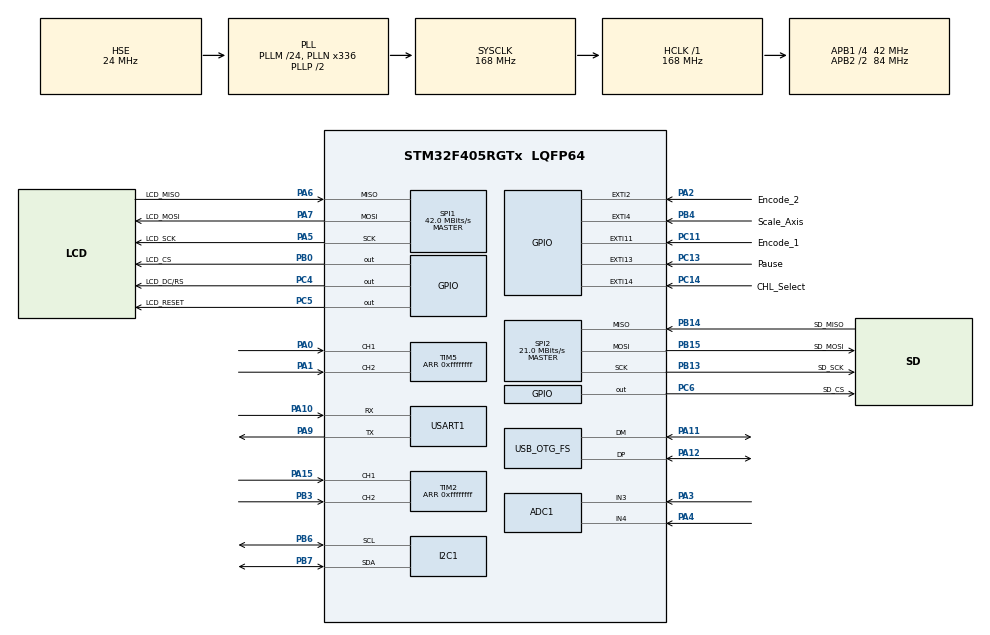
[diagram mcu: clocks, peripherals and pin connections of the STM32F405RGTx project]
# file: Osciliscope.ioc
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ADC1.Channel-13\#ChannelRegularConversion=ADC_CHANNEL_3
ADC1.Channel-14\#ChannelRegularConversion=ADC_CHANNEL_4
ADC1.ContinuousConvMode=DISABLE
ADC1.DMAContinuousRequests=ENABLE
ADC1.EnableAnalogWatchDog=true
ADC1.ExternalTrigConv=ADC_EXTERNALTRIGCONV_T3_TRGO
ADC1.HighThreshold=2048
ADC1.ITMode=ENABLE
ADC1.NbrOfConversion=2
ADC1.NbrOfConversionFlag=1
ADC1.Rank-13\#ChannelRegularConversion=1
ADC1.Rank-14\#ChannelRegularConversion=2
ADC1.SamplingTime-13\#ChannelRegularConversion=ADC_SAMPLETIME_15CYCLES
ADC1.SamplingTime-14\#ChannelRegularConversion=ADC_SAMPLETIME_15CYCLES
ADC1.ScanConvMode=ENABLE
ADC1.WatchdogChannel=ADC_CHANNEL_3
ADC1.master=1
Dma.ADC1.0.Direction=DMA_PERIPH_TO_MEMORY
Dma.ADC1.0.FIFOMode=DMA_FIFOMODE_DISABLE
Dma.ADC1.0.Instance=DMA2_Stream0
Dma.ADC1.0.MemDataAlignment=DMA_MDATAALIGN_HALFWORD
Dma.ADC1.0.MemInc=DMA_MINC_ENABLE
Dma.ADC1.0.Mode=DMA_NORMAL
Dma.ADC1.0.PeriphDataAlignment=DMA_PDATAALIGN_HALFWORD
Dma.ADC1.0.PeriphInc=DMA_PINC_DISABLE
Dma.ADC1.0.Priority=DMA_PRIORITY_LOW
Dma.Request0=ADC1
Mcu.Family=STM32F4
Mcu.Name=STM32F405RGTx
Mcu.Package=LQFP64
NVIC.DMA2_Stream0_IRQn=true\:0\:0\:false\:false\:true\:false\:true\:true
NVIC.PriorityGroup=NVIC_PRIORITYGROUP_4
PA0-WKUP.Signal=S_TIM5_CH1
PA1.Signal=S_TIM5_CH2
PA10.Mode=Asynchronous
PA10.Signal=USART1_RX
PA11.Mode=Device_Only
PA11.Signal=USB_OTG_FS_DM
PA12.Mode=Device_Only
PA12.Signal=USB_OTG_FS_DP
PA13.GPIO_Label=SWD_IO
PA13.Mode=Serial_Wire
PA13.Signal=SYS_JTMS-SWDIO
PA14.GPIO_Label=SWD_CLK
PA14.Mode=Serial_Wire
PA14.Signal=SYS_JTCK-SWCLK
PA15.Signal=S_TIM2_CH1_ETR
PA2.GPIO_Label=Encode_2
PA2.GPIO_ModeDefaultEXTI=GPIO_MODE_IT_FALLING
PA2.GPIO_PuPd=GPIO_PULLUP
PA2.Signal=GPXTI2
PA3.Signal=ADCx_IN3
PA4.Signal=ADCx_IN4
PA5.GPIO_Label=LCD_SCK
PA5.Mode=Full_Duplex_Master
PA5.Signal=SPI1_SCK
PA6.GPIO_Label=LCD_MISO
PA6.Mode=Full_Duplex_Master
PA6.Signal=SPI1_MISO
PA7.GPIO_Label=LCD_MOSI
PA7.Mode=Full_Duplex_Master
PA7.Signal=SPI1_MOSI
PA9.Mode=Asynchronous
PA9.Signal=USART1_TX
PB0.GPIO_Label=LCD_CS
PB0.Signal=GPIO_Output
PB13.GPIO_Label=SD_SCK
PB13.Mode=Full_Duplex_Master
PB13.Signal=SPI2_SCK
PB14.GPIO_Label=SD_MISO
PB14.Mode=Full_Duplex_Master
PB14.Signal=SPI2_MISO
PB15.GPIO_Label=SD_MOSI
PB15.Mode=Full_Duplex_Master
PB15.Signal=SPI2_MOSI
PB3.Signal=S_TIM2_CH2
PB4.GPIO_Label=Scale_Axis
PB4.GPIO_ModeDefaultEXTI=GPIO_MODE_IT_FALLING
PB4.GPIO_PuPd=GPIO_PULLUP
PB4.Signal=GPXTI4
PB6.Mode=I2C
PB6.Signal=I2C1_SCL
PB7.Mode=I2C
PB7.Signal=I2C1_SDA
PC11.GPIO_Label=Encode_1
PC11.GPIO_ModeDefaultEXTI=GPIO_MODE_IT_FALLING
PC11.GPIO_PuPd=GPIO_PULLUP
PC11.Signal=GPXTI11
PC13-ANTI_TAMP.GPIO_Label=Pause
PC13-ANTI_TAMP.GPIO_ModeDefaultEXTI=GPIO_MODE_IT_FALLING
PC13-ANTI_TAMP.GPIO_PuPd=GPIO_PULLUP
PC13-ANTI_TAMP.Signal=GPXTI13
PC14-OSC32_IN.GPIO_Label=CHL_Select
PC14-OSC32_IN.GPIO_ModeDefaultEXTI=GPIO_MODE_IT_FALLING
PC14-OSC32_IN.GPIO_PuPd=GPIO_PULLUP
PC14-OSC32_IN.Signal=GPXTI14
PC4.GPIO_Label=LCD_DC/RS
PC4.Signal=GPIO_Output
PC5.GPIO_Label=LCD_RESET
PC5.Signal=GPIO_Output
PC6.GPIO_Label=SD_CS
PC6.Signal=GPIO_Output
PH0-OSC_IN.Mode=HSE-External-Oscillator
PH0-OSC_IN.Signal=RCC_OSC_IN
PH1-OSC_OUT.Mode=HSE-External-Oscillator
PH1-OSC_OUT.Signal=RCC_OSC_OUT
ProjectManager.HeapSize=0x200
ProjectManager.StackSize=0x400
ProjectManager.TargetToolchain=STM32CubeIDE
RCC.48MHZClocksFreq_Value=48000000
RCC.AHBFreq_Value=168000000
RCC.APB1CLKDivider=RCC_HCLK_DIV4
RCC.APB1Freq_Value=42000000
RCC.APB1TimFreq_Value=84000000
RCC.APB2CLKDivider=RCC_HCLK_DIV2
RCC.APB2Freq_Value=84000000
RCC.APB2TimFreq_Value=168000000
RCC.CortexFreq_Value=168000000
RCC.HCLKFreq_Value=168000000
RCC.HSE_VALUE=24000000
RCC.HSI_VALUE=16000000
RCC.LSE_VALUE=32768
RCC.PLLM=24
RCC.PLLN=336
RCC.PLLQ=7
RCC.SYSCLKFreq_VALUE=168000000
RCC.SYSCLKSource=RCC_SYSCLKSOURCE_PLLCLK
RCC.VCOOutputFreq_Value=336000000
SH.ADCx_IN3.0=ADC1_IN3,IN3
SH.ADCx_IN4.0=ADC1_IN4,IN4
SH.S_TIM2_CH1_ETR.0=TIM2_CH1,Encoder_Interface
SH.S_TIM2_CH2.0=TIM2_CH2,Encoder_Interface
SH.S_TIM5_CH1.0=TIM5_CH1,Encoder_Interface
SH.S_TIM5_CH2.0=TIM5_CH2,Encoder_Interface
SPI1.BaudRatePrescaler=SPI_BAUDRATEPRESCALER_2
SPI1.CalculateBaudRate=42.0 MBits/s
SPI1.Direction=SPI_DIRECTION_2LINES
SPI1.Mode=SPI_MODE_MASTER
SPI1.VirtualType=VM_MASTER
SPI2.BaudRatePrescaler=SPI_BAUDRATEPRESCALER_2
SPI2.CalculateBaudRate=21.0 MBits/s
SPI2.Direction=SPI_DIRECTION_2LINES
SPI2.Mode=SPI_MODE_MASTER
SPI2.VirtualType=VM_MASTER
TIM2.EncoderMode=TIM_ENCODERMODE_TI12
TIM2.IC1Filter=8
TIM2.IC2Filter=8
TIM2.Period=0xffffffff
TIM3.Period=1679
TIM3.Prescaler=0
TIM3.TIM_MasterOutputTrigger=TIM_TRGO_UPDATE
TIM5.AutoReloadPreload=TIM_AUTORELOAD_PRELOAD_ENABLE
TIM5.EncoderMode=TIM_ENCODERMODE_TI12
TIM5.IC1Filter=8
TIM5.IC2Filter=8
TIM5.Period=0xffffffff
TIM5.TIM_MasterOutputTrigger=TIM_TRGO_RESET
USART1.VirtualMode=VM_ASYNC
USB_OTG_FS.VirtualMode=Device_Only
VP_TIM3_VS_ClockSourceINT.Mode=Internal
board=custom

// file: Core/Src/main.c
/* USER CODE BEGIN Header */
/**
  ******************************************************************************
  * @file           : main.c
  * @brief          : Main program body
  ******************************************************************************
  * @attention
  *
  * Copyright (c) 2026 STMicroelectronics.
  * All rights reserved.
  *
  * This software is licensed under terms that can be found in the LICENSE file
  * in the root directory of this software component.
  * If no LICENSE file comes with this software, it is provided AS-IS.
  *
  ******************************************************************************
  */
/* USER CODE END Header */
#include "main.h"
#include "adc.h"
#include "dma.h"
#include "i2c.h"
#include "spi.h"
#include "tim.h"
#include "usart.h"
#include "usb_otg.h"
#include "gpio.h"

/* USER CODE BEGIN Includes */
#include <math.h>
#include <stdlib.h>
#include <stdint.h>

/* USER CODE END Includes */

/* USER CODE BEGIN PD */
#define PAUSE_PIN GPIOC, GPIO_PIN_13
#define CHL_SELECT_PIN GPIOC, GPIO_PIN_14
#define HSE_IN_PIN GPIOH, GPIO_PIN_0
#define HSE_OUT_PIN GPIOH, GPIO_PIN_1
#define TIM5_CH1_PIN GPIOA, GPIO_PIN_0
#define TIM5_CH2_PIN GPIOA, GPIO_PIN_1
#define ENCODE2_PIN GPIOA, GPIO_PIN_2
#define WAVEIN1_PIN GPIOA, GPIO_PIN_3
#define WAVEIN2_PIN GPIOA, GPIO_PIN_4
#define LCD_SCK_PIN GPIOA, GPIO_PIN_5
#define LCD_MISO_PIN GPIOA, GPIO_PIN_6
#define LCD_MOSI_PIN GPIOA, GPIO_PIN_7
#define LCD_DCRS_PIN GPIOC, GPIO_PIN_4
#define LCD_RESET_PIN GPIOC, GPIO_PIN_5
#define LCD_CS_PIN GPIOB, GPIO_PIN_0
#define SD_SCK_PIN GPIOB, GPIO_PIN_13
#define SD_MISO_PIN GPIOB, GPIO_PIN_14
#define SD_MOSI_PIN GPIOB, GPIO_PIN_15
#define SD_CS_PIN GPIOC, GPIO_PIN_6
#define USART1_TX_PIN GPIOA, GPIO_PIN_9
#define USART1_RX_PIN GPIOA, GPIO_PIN_10
#define USB_DM_PIN GPIOA, GPIO_PIN_11
#define USB_DP_PIN GPIOA, GPIO_PIN_12
#define SWD_IO_PIN GPIOA, GPIO_PIN_13
#define SWD_CLK_PIN GPIOA, GPIO_PIN_14
#define TIM2_CH1_PIN GPIOA, GPIO_PIN_15
#define ENCODE1_PIN GPIOC, GPIO_PIN_11
#define TIM2_CH2_PIN GPIOB, GPIO_PIN_3
#define SCALE_AXIS_PIN GPIOB, GPIO_PIN_4
#define I2C1_SCL_PIN GPIOB, GPIO_PIN_6
#define I2C1_SDA_PIN GPIOB, GPIO_PIN_7

#define ADC_12BIT 4095.0f
#define VRef 3.3f //V
#define ATTENUATION_FACTOR 51.0f //51:1
#define OP_AMP_GAIN 4.0f //Gain of OP-AMP
#define ADC_BUFFER_SIZE 4096 //Size of ADC DMA buffer
#define TIM3_CLK 84000000 //Timer 3 Clock Frequency

#define X_DIVISIONS 20.0f // 20 X divisions
#define Y_DIVISIONS 10.0f // +/- 10 Y divisions
//50Hz input min, 25KHz input max
//At least 10 Waveforms, meaning 2 div per wavefront
//Min 1 Waveform, meaning 20 div per wavefront
//Max T(1/50) * (1/2) = 0.01s, Min T(1/25K) * 1/20 = 2e-6s = 0.000002
static const float xdiv_Levels[] = {0.000002f, 0.0000025f, 0.000003f, 0.000004f, 0.000005f, 0.000008f, 0.00001f, 0.000015f, 0.00002f, 0.000025f, 0.00003f, 0.00004f, 0.00005f, 0.00008f, 0.0001f, 0.00015f, 0.0002f, 0.00025f, 0.0003f, 0.0004f, 0.0005f, 0.0008f, 0.001f, 0.0015f, 0.002f, 0.0025f, 0.003f, 0.004f, 0.005f, 0.008f, 0.01f};
//Min is roughly resolution, Max is 20v Peak / no. divisions = 20/10 = 2V
static const float ydiv_Levels[] = {0.01f, 0.02f, 0.03f, 0.04f, 0.05f, 0.08f, 0.1f, 0.2f, 0.3f, 0.4f, 0.5f, 0.8f, 1.0f, 1.2f, 1.5f, 1.6f, 2.0f};
#define COUNT_PER_STEP 4 //Count increase on encoder timer per encoder step

typedef enum {
  SCOPE_ARMED = 0,
  SCOPE_TRIGGERED,
  SCOPE_WAITING
} scope_state_t;
/* USER CODE END PD */

/* USER CODE BEGIN PM */
#define XDIV_COUNT (sizeof(xdiv_Levels)/sizeof(xdiv_Levels[0]))
#define YDIV_COUNT (sizeof(ydiv_Levels)/sizeof(ydiv_Levels[0]))
/* USER CODE END PM */

/* USER CODE BEGIN PV */
  float BIAS_VOLTAGE = 1.65f; //Bias Voltage
  volatile uint8_t CHL_Select_State = 0; //Channel Select Button State
  volatile uint8_t Pause_State = 0; //Pause Button State
  volatile uint8_t Auto_Scale_Y_State = 0; //Auto Scale Y State
  volatile uint8_t Scale_Axis_State = 0; //Scale Axis Button State 0->x, 1->y
  volatile float Trig_Voltage = 0.0f; //Set Initial Trigger Voltage
  volatile uint8_t Trig_Flag = 0;
  volatile uint16_t Trig_ADC_Value = 2048;
  volatile scope_state_t scope_state = SCOPE_ARMED;
  float Sample_Rate; //Hz
  float Sample_period; //s
  uint8_t Screen_Change_Flag = 1; //Flag to indicate screen change
/* USER CODE END PV */

void SystemClock_Config(void);
/* USER CODE BEGIN PFP */
void VBias_Init(uint16_t *adc_buffer);
void Set_Axis_Div(float *buffer, float *xDIV, float *yDIV, uint16_t length);
void Set_Trig_Value(void);
void ADC_Convert(uint16_t *adc_input, float *Vin, uint16_t DMA_index);
float VmaxABS(float *buffer, uint16_t length);
float Auto_Scale_Y(float *buffer, uint16_t length, int *ylocation);
void ADC_SetTrigger(void);
void DWT_Init(void);
uint32_t Micros(void);

/* USER CODE END PFP */

int main(void)
{

  /* MCU Configuration--------------------------------------------------------*/

  /* Reset of all peripherals, Initializes the Flash interface and the Systick. */
  HAL_Init();

  /* Configure the system clock */
  SystemClock_Config();

  /* Initialize all configured peripherals */
  MX_GPIO_Init();
  MX_DMA_Init();
  MX_SPI1_Init();
  MX_USART1_UART_Init();
  MX_USB_OTG_FS_PCD_Init();
  MX_ADC1_Init();
  MX_I2C1_Init();
  MX_SPI2_Init();
  MX_TIM2_Init();
  MX_TIM5_Init();
  MX_TIM3_Init();
  /* USER CODE BEGIN 2 */

  HAL_TIM_Base_Start(&htim3); //Start Timer 3 for ADC trigger
  static uint16_t adc_buffer[ADC_BUFFER_SIZE]; //ADC DMA buffer
  HAL_ADC_Start_DMA(&hadc1, (uint32_t*)adc_buffer, ADC_BUFFER_SIZE); //Start ADC with DMA
  HAL_Delay(100); //Delay for ADC to stabilise and fill buffer
  VBias_Init(adc_buffer); //Initialise Bias Voltage

  HAL_TIM_Encoder_Start(&htim2, TIM_CHANNEL_ALL); //Start Encoder 1
  __HAL_TIM_SET_COUNTER(&htim2, 0x80000000); //Set Encoder 1 counter to middle value
  HAL_TIM_Encoder_Start(&htim5, TIM_CHANNEL_ALL); //Start Encoder 2
  __HAL_TIM_SET_COUNTER(&htim5, 0x80000000); //Set Encoder 2 counter to middle value

  static float Vin_buffer[ADC_BUFFER_SIZE]; //Scaled Voltage buffer
  ADC_Convert(adc_buffer, Vin_buffer, ADC_BUFFER_SIZE);

  yDIV = 0.5f; //Initial Y Division setting
  xDIV = 0.0002f; //Initial X Division setting
  Set_Axis_Div(Vin_buffer, &xDIV, &yDIV, ADC_BUFFER_SIZE); //Initialise Axis Division setting
  Set_Trig_Value(); //Initialise Trigger Value setting

  ILI9341_Init();
  ILI9341_Clear(BLACK);
  ILI9341_ClearUI();
  ILI9341_UpdateVals(xDIV, yDIV, Trig_Voltage);
  ILI9341_DrawAxis(Y_DIVISIONS, X_DIVISIONS);

  static float plot_buffer[ADC_BUFFER_SIZE/2];

  DWT_Init(); //Initialize DWT for Micros() function
  uint32_t Last_Trig_Time = Micros();

  uint16_t DMA_Index = 0; //Get current DMA index
  /* USER CODE END 2 */

  /* Infinite loop */
  while (1)
  {

    /* USER CODE BEGIN 3 */
    uint32_t Total_Display_Time = (uint32_t)(xDIV * X_DIVISIONS * 1e6f); //Total time (us) displayed on screen
    if (Trig_Flag) {
      Trig_Flag = 0;
      HAL_ADC_Stop_DMA(&hadc1); //Stop ADC DMA
      DMA_Index = ADC_BUFFER_SIZE - hdma_adc1.Instance->NDTR; //Get current DMA index
      ADC_Convert(adc_buffer, Vin_buffer, DMA_Index); //Convert ADC values to Voltages
      HAL_ADC_Start_DMA(&hadc1, (uint32_t*)adc_buffer, ADC_BUFFER_SIZE); //Restart ADC DMA
      Last_Trig_Time = Micros();
      scope_state = SCOPE_WAITING;
    }
    if (scope_state == SCOPE_WAITING) {
      if ((Micros() - Last_Trig_Time) >= Total_Display_Time*1.5f) {
        volatile uint32_t temp_void = hadc1.Instance->DR; //Read DR to clear potential overrun flag
        (void)temp_void;
        __HAL_ADC_ENABLE_IT(&hadc1, ADC_IT_AWD);
        scope_state = SCOPE_ARMED;
      }
    }

	  if (!CHL_Select_State){
		  for (uint16_t i=0; i<DMA_Index/2; i++){
			  plot_buffer[i] = Vin_buffer[2*i];
		  }
	  }
	  else {
		  for (uint16_t i=0; i<DMA_Index/2; i++){
			  plot_buffer[i] = Vin_buffer[2*i+1];
		  }
	  }

    Wavefront_Index = Find_Rising_Edge(plot_buffer, DMA_Index/2); //Find Rising Edge for Triggering
    if (Wavefront_Index >= DMA_Index/2) {
      Wavefront_Index = 0; //No Trigger Found, set to 0
    }
    static float plot_volts[ADC_BUFFER_SIZE/2];
    for (uint16_t i=0; i<(DMA_Index/2)-Wavefront_Index; i++) {
      plot_volts[i] = plot_buffer[Wavefront_Index + i];
    }

	  Set_Axis_Div(plot_volts, &xDIV, &yDIV, (DMA_Index/2)-Wavefront_Index); //Update Axis Division setting
	  Set_Trig_Value(); //Update Trigger Value setting
    if (Screen_Change_Flag) {
      Screen_Change_Flag = 0;
      ILI9341_UpdateVals(xDIV, yDIV, Trig_Voltage);
    }
	  if (!Pause_State){
      ILI9341_ClearWaveform();
		  ILI9341_DrawAxis(Y_DIVISIONS, X_DIVISIONS);
		  ILI9341_PlotWaveform(plot_volts,xDIV,yDIV,RED);
	  }
  }
  /* USER CODE END 3 */
}

void SystemClock_Config(void)
{
  RCC_OscInitTypeDef RCC_OscInitStruct = {0};
  RCC_ClkInitTypeDef RCC_ClkInitStruct = {0};

  /** Configure the main internal regulator output voltage
  */
  __HAL_RCC_PWR_CLK_ENABLE();
  __HAL_PWR_VOLTAGESCALING_CONFIG(PWR_REGULATOR_VOLTAGE_SCALE1);

  /** Initializes the RCC Oscillators according to the specified parameters
  * in the RCC_OscInitTypeDef structure.
  */
  RCC_OscInitStruct.OscillatorType = RCC_OSCILLATORTYPE_HSE;
  RCC_OscInitStruct.HSEState = RCC_HSE_ON;
  RCC_OscInitStruct.PLL.PLLState = RCC_PLL_ON;
  RCC_OscInitStruct.PLL.PLLSource = RCC_PLLSOURCE_HSE;
  RCC_OscInitStruct.PLL.PLLM = 24;
  RCC_OscInitStruct.PLL.PLLN = 336;
  RCC_OscInitStruct.PLL.PLLP = RCC_PLLP_DIV2;
  RCC_OscInitStruct.PLL.PLLQ = 7;
  if (HAL_RCC_OscConfig(&RCC_OscInitStruct) != HAL_OK)
  {
    Error_Handler();
  }

  /** Initializes the CPU, AHB and APB buses clocks
  */
  RCC_ClkInitStruct.ClockType = RCC_CLOCKTYPE_HCLK|RCC_CLOCKTYPE_SYSCLK
                              |RCC_CLOCKTYPE_PCLK1|RCC_CLOCKTYPE_PCLK2;
  RCC_ClkInitStruct.SYSCLKSource = RCC_SYSCLKSOURCE_PLLCLK;
  RCC_ClkInitStruct.AHBCLKDivider = RCC_SYSCLK_DIV1;
  RCC_ClkInitStruct.APB1CLKDivider = RCC_HCLK_DIV4;
  RCC_ClkInitStruct.APB2CLKDivider = RCC_HCLK_DIV2;

  if (HAL_RCC_ClockConfig(&RCC_ClkInitStruct, FLASH_LATENCY_5) != HAL_OK)
  {
    Error_Handler();
  }
}

/* USER CODE BEGIN 4 */
void HAL_GPIO_EXTI_Callback(uint16_t GPIO_Pin) {
    switch(GPIO_Pin)
    {
        case GPIO_PIN_14: // PC14 -- CHL_Select Button
            // handle PC14 interrupt
        	CHL_Select_State = !CHL_Select_State;
        	ADC_SetTrigger();
            break;
        case GPIO_PIN_13: // PC13 -- Pause Button
            // handle PC13 interrupt
        	Pause_State = !Pause_State;
            break;
        case GPIO_PIN_11: // PC11 -- Encoder 1 Button
            // handle PC11 interrupt
        	Auto_Scale_Y_State = 1;
            break;
        case GPIO_PIN_4:  // PB4 -- Scale Axis Button
            // handle PB4 interrupt
        	Scale_Axis_State = !Scale_Axis_State;
            break;
        case GPIO_PIN_2:  // PA2 -- Encoder 2 Button
            // handle PA2 interrupt
        	Trig_Voltage = 0.0f; //Reset Trigger Voltage
            break;
    }
}

void HAL_ADC_LevelOutOfWindowCallback(ADC_HandleTypeDef* hadc) {
  if (hadc->Instance == ADC1) {
		//Trigger
    if (scope_state == SCOPE_ARMED) {
		    Trig_Flag = 1;
        scope_state = SCOPE_TRIGGERED;
        __HAL_ADC_DISABLE_IT(&hadc1, ADC_IT_AWD);
		  }
	  }
  return;
}

void VBias_Init(uint16_t *adc_buffer) {
	//Initialise Bias Voltage
	uint32_t adc_sum = 0;
	for (int i=0; i<ADC_BUFFER_SIZE; i++) {
		adc_sum += adc_buffer[i];
	}
	BIAS_VOLTAGE = ((float)adc_sum / ADC_BUFFER_SIZE) * (VRef / ADC_12BIT);
	return;
}

void Set_Axis_Div(float *buffer, float *xDIV, float *yDIV, uint16_t length) {
	static int ylocation = 4; //Initial Y division index
  static int xlocation = 16; //Initial X division index
  if (Auto_Scale_Y_State) {
		*yDIV = Auto_Scale_Y(buffer, length, &ylocation); //Auto Scale Y if enabled
		Auto_Scale_Y_State = 0; //Reset Auto Scale Y State
    Screen_Change_Flag = 1;
    return;
	}
  static uint32_t TIM2_Count = 0;
	uint32_t TIM2_New_Count = __HAL_TIM_GET_COUNTER(&htim2);
	if (TIM2_Count == 0) {
		TIM2_Count = __HAL_TIM_GET_COUNTER(&htim2);

	}
	else if (TIM2_New_Count != TIM2_Count) {
		int steps = ((int32_t)TIM2_New_Count - (int32_t)TIM2_Count) / COUNT_PER_STEP;
		TIM2_Count = TIM2_New_Count;
		if (Scale_Axis_State == 0) {
			//X-Axis Scaling
			//Adjust Time/Div based on steps
			xlocation += steps;
			if (xlocation >= (XDIV_COUNT - 1)) {xlocation = XDIV_COUNT - 1;}
			else if (xlocation < 0) {xlocation = 0;}
			*xDIV = xdiv_Levels[xlocation];
      Screen_Change_Flag = 1;
      float Total_Display_Time = (*xDIV) * X_DIVISIONS; //Total time (s) displayed on screen
      Sample_period = Total_Display_Time / (ADC_BUFFER_SIZE/4.0f); //Calculate Sample Period based on 2 channels and 2x bufferring
      Sample_Rate = (uint32_t)(1.0f / Sample_period); //Calculate Sample Rate
      Scope_SetSampleRate(Sample_Rate); //Set Sample Rate
		}
		else {
			//Y-Axis Scaling
			//Adjust V/Div based on steps
			ylocation += steps;
			if (ylocation >= (YDIV_COUNT - 1)) {ylocation = YDIV_COUNT - 1;}
			else if (ylocation < 0) {ylocation = 0;}
			*yDIV = ydiv_Levels[ylocation];
      Screen_Change_Flag = 1;
		}
	}
}

void Set_Trig_Value(void) {
	static uint32_t TIM5_Count = 0;
	uint32_t TIM5_New_Count = __HAL_TIM_GET_COUNTER(&htim5);
	if (TIM5_Count == 0) {
		TIM5_Count = __HAL_TIM_GET_COUNTER(&htim5);
	}
	else if (TIM5_New_Count != TIM5_Count) {
		int steps = ((int32_t)TIM5_New_Count - (int32_t)TIM5_Count) / 4;
		TIM5_Count = TIM5_New_Count;
		float Temp_Trig_Voltage = Trig_Voltage + (float)steps*0.01f;
		if (Temp_Trig_Voltage > 20.0f) {Trig_Voltage = 20.0f;}
		else if (Temp_Trig_Voltage < -20.0f) {Trig_Voltage = -20.0f;}
		else {Trig_Voltage = Temp_Trig_Voltage;}

		float Trig_Voltage_Adj = (Trig_Voltage / ATTENUATION_FACTOR * OP_AMP_GAIN) + BIAS_VOLTAGE;
		Trig_ADC_Value = (uint16_t)(Trig_Voltage_Adj * (ADC_12BIT/VRef));
    if (Trig_ADC_Value > 4095) {Trig_ADC_Value = 4095;}
		ADC_SetTrigger();
    Screen_Change_Flag = 1;
	}
}

void ADC_Convert(uint16_t *adc_input, float *Vin, uint16_t DMA_index) {
	//Scale ADC input based on schematic design
	//ADC input range: 0-3.3V (0-4095), VRef = 3.3V
	//Scope input range: +/-20v
	//Attenuation factor: 51:1
	//Bias: 3.3v/2 = 1.65v
	//OP-AMP Gain = 4
	//Vin = (Input-Bias)*(Attenuation Factor)/(OP-AMP Gain)
	for (int i=0; i<DMA_index; i++){
		float Vadc = (float)adc_input[i] * (VRef/ADC_12BIT); //Convert ADC value to voltage
		Vin[i] = (Vadc - BIAS_VOLTAGE) * (ATTENUATION_FACTOR) / (OP_AMP_GAIN); //Multiply by attenuation factor and divide by OP-AMP gain
	}
}

float VmaxABS(float *buffer, uint16_t length) {
	float max = fabsf(buffer[0]);
	for (int i=1; i<length; i++) {
		if (fabsf(buffer[i]) > max) {
			max = fabsf(buffer[i]);
		}
	}
	return max;
}

float Auto_Scale_Y(float *buffer, uint16_t length, int *ylocation) {
	float Vpp = 2* VmaxABS(buffer, length);
	//Screen Height is 240 pixels
	//Usable height = 200 pixels (20 pixels margin top and bottom)
	//Scale such that Vpp fits in 200 pixels
	//Similarly +/- 10 divisions vertically from #define Y_DIVISIONS
	//Max V/div = 20V/10 = 2V/div
	//Min V/div = 0.1V/10 = 0.01V/div //Roughly Corresponds to accuracy of ADC
	float V_div = Vpp / (2.0f * (float)Y_DIVISIONS); //Volts per division
	for (uint8_t i=0; i<YDIV_COUNT; i++) {
		if (V_div <= ydiv_Levels[i]) {
			*ylocation = i;
			return ydiv_Levels[i];
		}
	}
	return ydiv_Levels[YDIV_COUNT - 1];
}

void ADC_SetTrigger(void) {

	uint32_t CHANNEL;
	if (!CHL_Select_State) {CHANNEL = ADC_CHANNEL_3;}
	else {CHANNEL = ADC_CHANNEL_4;}

	ADC_AnalogWDGConfigTypeDef awdConfig;
	awdConfig.WatchdogNumber = ADC_ANALOGWATCHDOG_1;
	awdConfig.Channel = CHANNEL;
	awdConfig.ITMode = ENABLE;
	awdConfig.HighThreshold = Trig_ADC_Value;
	awdConfig.LowThreshold  = 0; // keep low
	HAL_ADC_AnalogWDGConfig(&hadc1, &awdConfig);
}

void DWT_Init(void) {
  CoreDebug->DEMCR |= CoreDebug_DEMCR_TRCENA_Msk; // Enable the trace and debug block
  DWT->CYCCNT = 0; // Reset the cycle counter
  DWT->CTRL |= DWT_CTRL_CYCCNTENA_Msk; // Enable the cycle counter
}

uint32_t Micros(void) {
  return DWT->CYCCNT / (SystemCoreClock / 1000000);
}

uint16_t Find_Rising_Edge(float *buffer, uint16_t DMA_Index) {
  for (uint16_t i = 1; i < DMA_Index; i++) {
    if (buffer[i - 1] < Trig_Voltage && buffer[i] >= Trig_Voltage) {
      return i;
    }
  }
  return 0; // No rising edge found
}

void Scope_SetSampleRate(uint32_t fs) {
  if (fs<1) {fs = 1;}
  uint32_t arr = (TIM3_CLK / fs) - 1;

  __HAL_TIM_DISABLE(&htim3);
  __HAL_TIM_SET_AUTORELOAD(&htim3, arr);
  __HAL_TIM_SET_COUNTER(&htim3, 0);
  __HAL_TIM_ENABLE(&htim3);
}
/* USER CODE END 4 */

void Error_Handler(void)
{
  __disable_irq();
  while (1)
  {
  }
}
